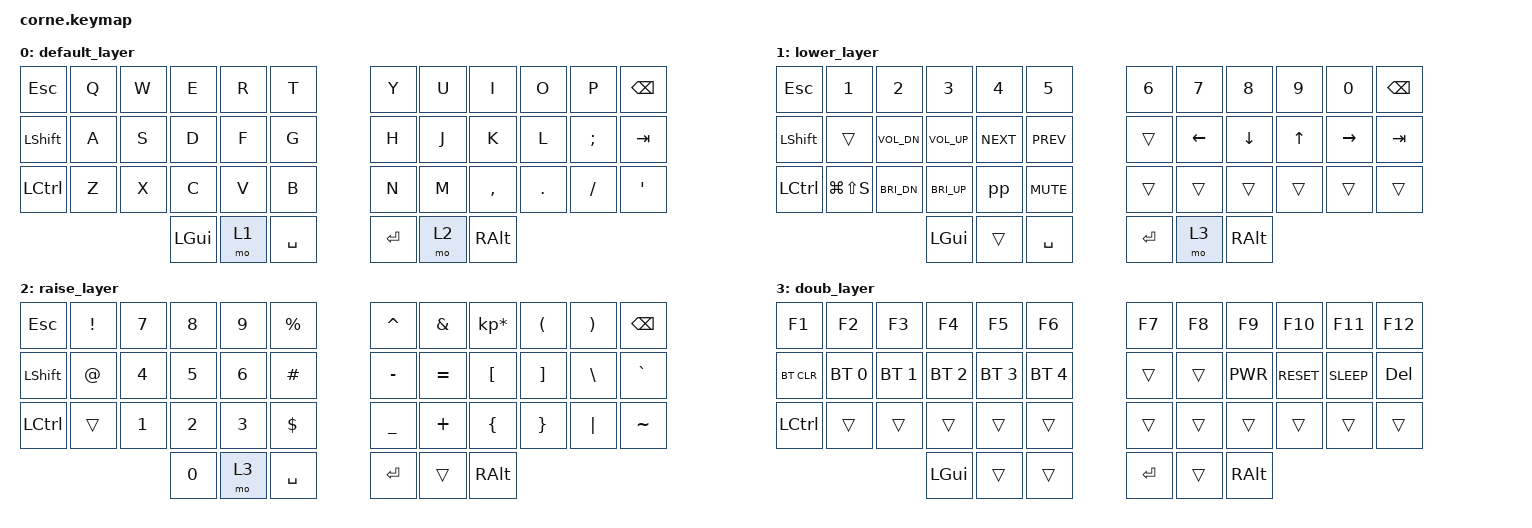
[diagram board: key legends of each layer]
/*
 * Copyright (c) 2020 The ZMK Contributors
 *
 * SPDX-License-Identifier: MIT
 */

#include <behaviors.dtsi>
#include <dt-bindings/zmk/keys.h>
#include <dt-bindings/zmk/bt.h>

/ {
        keymap {
                compatible = "zmk,keymap";

                default_layer {
// -----------------------------------------------------------------------------------------
// | ESC  |  Q  |  W  |  E  |  R  |  T  |   |  Y  |  U   |  I  |  O  |  P  | BKSP |
// | SHFT |  A  |  S  |  D  |  F  |  G  |   |  H  |  J   |  K  |  L  |  ;  |  TAB |
// | CTRL |  Z  |  X  |  C  |  V  |  B  |   |  N  |  M   |  ,  |  .  |  /  |   '  |
//                    | GUI | LWR | SPC |   | ENT | RSE  | ALT |
                        bindings = <
   &kp ESC   &kp Q &kp W &kp E &kp R &kp T   &kp Y &kp U  &kp I     &kp O   &kp P    &kp BSPC
   &kp LSHFT &kp A &kp S &kp D &kp F &kp G   &kp H &kp J  &kp K     &kp L   &kp SEMI &kp TAB
   &kp LCTRL &kp Z &kp X &kp C &kp V &kp B   &kp N &kp M  &kp COMMA &kp DOT &kp FSLH &kp SQT
                  &kp LGUI &mo 1 &kp SPACE   &kp RET &mo 2 &kp RALT
                        >;
                };
                lower_layer {
// -----------------------------------------------------------------------------------------
// |  ESC |  1  |  2  |  3  |  4  |  5  |   |  6  |  7  |  8  |  9  |  0  | BKSP |
// | SHFT |     | VOL-| VOL+|BCKTR|FWDTR|   |     | LFT | DWN | UP  |RGHT | TAB  |
// | CTRL | S/S |BRGT-|BRGT+| P/P | MUTE|   |     |     |     |     |     |      |
//                    | GUI |     | SPC |   | ENT | DBL | ALT |
                        bindings = <
   &kp ESC    &kp N1        &kp N2       &kp N3       &kp N4      &kp N5        &kp N6   &kp N7   &kp N8   &kp N9   &kp N0    &kp BSPC
   &kp LSHFT  &trans        &kp C_VOL_DN &kp C_VOL_UP &kp C_NEXT  &kp C_PREV    &trans   &kp LEFT &kp DOWN &kp UP   &kp RIGHT &kp TAB
   &kp LCTRL  &kp LG(LS(S)) &kp C_BRI_DN &kp C_BRI_UP &kp C_pp    &kp C_MUTE    &trans   &trans   &trans   &trans   &trans    &trans
                                         &kp LGUI     &trans      &kp SPACE     
                                         &kp RET  &mo 3    &kp RALT
                        >;
                };

                raise_layer {
// -----------------------------------------------------------------------------------------
// |  ESC |  !  |  7  |  8  |  9  |  %  |   |  ^  |  &  |  *  |  (  |  )  | BKSP |
// | SHFT |  @  |  4  |  5  |  6  |  #  |   |  -  |  =  |  [  |  ]  |  \  |  `   |
// | CTRL |     |  1  |  2  |  3  |  $  |   |  _  |  +  |  {  |  }  | "|" |  ~   |
//                    |  0  | DBL | SPC |   | ENT |     | ALT |
                        bindings = <
   &kp  ESC  &kp EXCL &kp N7 &kp N8  &kp N9  &kp PRCNT   &kp CARET &kp AMPS  &kp KP_MULTIPLY &kp LPAR &kp RPAR &kp BSPC
   &kp LSHFT &kp AT   &kp N4 &kp N5  &kp N6  &kp HASH    &kp MINUS &kp EQUAL &kp LBKT        &kp RBKT &kp BSLH &kp GRAVE
   &kp LCTRL &trans   &kp N1 &kp N2  &kp N3  &kp DLLR    &kp UNDER &kp PLUS  &kp LBRC        &kp RBRC &kp PIPE &kp TILDE
                             &kp N0  &mo 3   &kp SPACE   &kp RET   &trans    &kp RALT
                        >;
                };
                doub_layer {
// ----------------------------------------     -----------------------------------------------
// |  F1  |  F2 | F3  | F4  | F5  | F6  |||     ||| F7  |  F8   |  F9   |  F10  |  F11  | F12 |
// |BTCLR | BT1 | BT2 | BT3 | BT4 | BT5 |||     |||     |       |  PWR  |  RST  |  SLP  | DLT |
// | CTRL |     |     |     |     |     |||     |||     |       |       |       |       |     |
// -------------------| GUI |     | SPC |||     ||| ENT |       |  ALT  |----------------------
//                    ---------------------     -------------------------
                        bindings = <
   &kp F1      &kp F2        &kp F3        &kp F4       &kp F5       &kp F6       &kp F7      &kp F8     &kp F9     &kp F10      &kp F11      &kp F12
   &bt BT_CLR  &bt BT_SEL 0  &bt BT_SEL 1  &bt BT_SEL 2 &bt BT_SEL 3 &bt BT_SEL 4 &trans      &trans     &kp C_PWR  &kp C_RESET  &kp C_SLEEP  &kp DEL
   &kp LCTRL   &trans        &trans        &trans       &trans       &trans       &trans      &trans     &trans     &trans       &trans       &trans
                                           &kp LGUI     &trans       &trans       &kp RET     &trans     &kp RALT
                        >;
                };
        };
};
